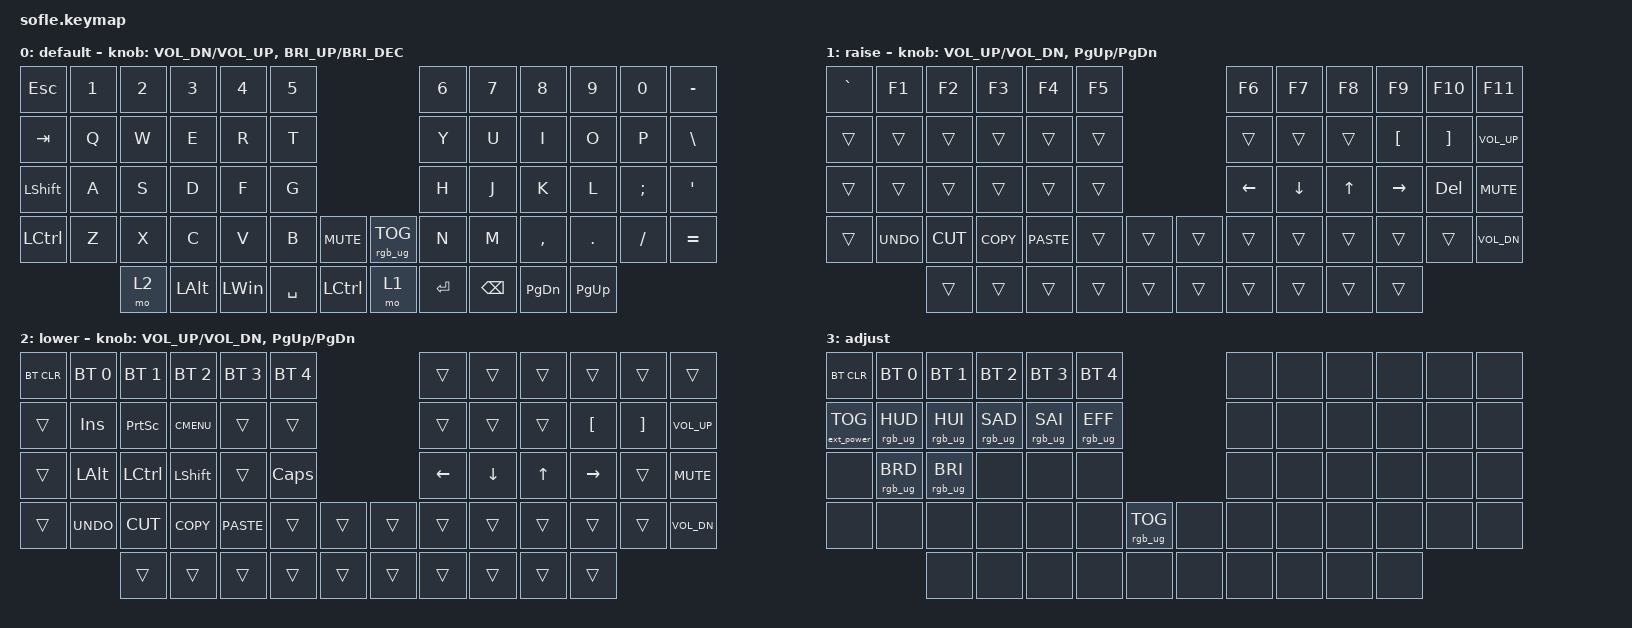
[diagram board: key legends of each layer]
/*
 * Copyright (c) 2020 The ZMK Contributors
 *
 * SPDX-License-Identifier: MIT
 */

#include <behaviors.dtsi>
#include <dt-bindings/zmk/bt.h>
#include <dt-bindings/zmk/ext_power.h>
#include <dt-bindings/zmk/keys.h>
#include <dt-bindings/zmk/rgb.h>

#define BASE 0
#define LOWER 1
#define RAISE 2
#define ADJUST 3

/ {
    // Activate ADJUST layer by pressing raise and lower

    conditional_layers {
        compatible = "zmk,conditional-layers";

        adjust_layer {
            if-layers = <1 2>;
            then-layer = <3>;
        };
    };

    keymap {
        compatible = "zmk,keymap";

        default_layer {
            label = "default";

            // ------------------------------------------------------------------------------------------------------------
            // |   `   |  1  |  2  |  3   |  4   |  5   |                   |  6   |  7    |  8    |  9   |   0   |       |
            // |  ESC  |  Q  |  W  |  E   |  R   |  T   |                   |  Y   |  U    |  I    |  O   |   P   | BKSPC |
            // |  TAB  |  A  |  S  |  D   |  F   |  G   |                   |  H   |  J    |  K    |  L   |   ;   |   '   |
            // | SHIFT |  Z  |  X  |  C   |  V   |  B   |  MUTE  |  |       |  N   |  M    |  ,    |  .   |   /   | SHIFT |
            //               | GUI | ALT  | CTRL | LOWER|  ENTER |  | SPACE | RAISE| CTRL  | ALT   | GUI  |

            bindings = <
&kp ESC           &kp N1  &kp N2  &kp N3    &kp N4        &kp N5                                          &kp N6     &kp N7         &kp N8         &kp N9       &kp N0    &kp MINUS
&kp TAB           &kp Q   &kp W   &kp E     &kp R         &kp T                                           &kp Y      &kp U          &kp I          &kp O        &kp P     &kp BACKSLASH
&kp LEFT_SHIFT    &kp A   &kp S   &kp D     &kp F         &kp G                                           &kp H      &kp J          &kp K          &kp L        &kp SEMI  &kp SQT
&kp LEFT_CONTROL  &kp Z   &kp X   &kp C     &kp V         &kp B      &kp C_MUTE          &rgb_ug RGB_TOG  &kp N      &kp M          &kp COMMA      &kp DOT      &kp FSLH  &kp EQUAL
                          &mo 2   &kp LALT  &kp LEFT_WIN  &kp SPACE  &kp LEFT_CONTROL    &mo 1            &kp ENTER  &kp BACKSPACE  &kp PAGE_DOWN  &kp PAGE_UP
            >;

            sensor-bindings =
                <&inc_dec_kp C_VOL_DN C_VOL_UP>,
                <&inc_dec_kp C_BRI_UP C_BRI_DEC>;
        };

        raise_layer {
            label = "raise";

            // ------------------------------------------------------------------------------------------------------------
            // | BTCLR | BT1  | BT2  |  BT3  |  BT4  |  BT5 |                |      |      |       |      |       |       |
            // |       | INS  | PSCR | GUI   |       |      |                | PGUP |      |   ^   |      |       |       |
            // |       | ALT  | CTRL | SHIFT |       | CAPS |                | PGDN |   <- |   v   |  ->  |  DEL  | BKSPC |
            // |       | UNDO | CUT  | COPY  | PASTE |      |      |  |      |      |      |       |      |       |       |
            //                |      |       |       |      |      |  |      |      |      |       |      |

            bindings = <
&kp GRAVE  &kp F1      &kp F2     &kp F3      &kp F4       &kp F5                    &kp F6          &kp F7          &kp F8        &kp F9            &kp F10            &kp F11
&trans     &trans      &trans     &trans      &trans       &trans                    &trans          &trans          &trans        &kp LEFT_BRACKET  &kp RIGHT_BRACKET  &kp C_VOLUME_UP
&trans     &trans      &trans     &trans      &trans       &trans                    &kp LEFT_ARROW  &kp DOWN_ARROW  &kp UP_ARROW  &kp RIGHT         &kp DEL            &kp K_MUTE
&trans     &kp K_UNDO  &kp K_CUT  &kp K_COPY  &kp K_PASTE  &trans  &trans    &trans  &trans          &trans          &trans        &trans            &trans             &kp C_VOL_DN
                       &trans     &trans      &trans       &trans  &trans    &trans  &trans          &trans          &trans        &trans
            >;

            sensor-bindings = <&inc_dec_kp C_VOL_UP C_VOL_DN &inc_dec_kp PG_UP PG_DN>;
        };

        layer_lower {
            label = "lower";
            bindings = <
&bt BT_CLR  &bt BT_SEL 0  &bt BT_SEL 1  &bt BT_SEL 2  &bt BT_SEL 3  &bt BT_SEL 4                    &trans          &trans          &trans        &trans            &trans             &trans
&trans      &kp INS       &kp PSCRN     &kp K_CMENU   &trans        &trans                          &trans          &trans          &trans        &kp LEFT_BRACKET  &kp RIGHT_BRACKET  &kp C_VOLUME_UP
&trans      &kp LALT      &kp LCTRL     &kp LSHFT     &trans        &kp CLCK                        &kp LEFT_ARROW  &kp DOWN_ARROW  &kp UP_ARROW  &kp RIGHT         &trans             &kp K_MUTE
&trans      &kp K_UNDO    &kp K_CUT     &kp K_COPY    &kp K_PASTE   &trans        &trans    &trans  &trans          &trans          &trans        &trans            &trans             &kp C_VOL_DN
                          &trans        &trans        &trans        &trans        &trans    &trans  &trans          &trans          &trans        &trans
            >;

            sensor-bindings =
                <&inc_dec_kp C_VOL_UP C_VOL_DN>,
                <&inc_dec_kp PG_UP PG_DN>;
        };

        adjust_layer {
            // ----------------------------------------------------------------------------------------------------------------------------
            // | BTCLR  |  BT1    |  BT2    |   BT3   |   BT4   |   BT5   |                  |      |      |       |      |       |       |
            // | EXTPWR | RGB_HUD | RGB_HUI | RGB_SAD | RGB_SAI | RGB_EFF |                  |      |      |       |      |       |       |
            // |        | RGB_BRD | RGB_BRI |         |         |         |                  |      |      |       |      |       |       |
            // |        |         |         |         |         |         | RGB_TOG | |      |      |      |       |      |       |       |
            //                    |         |         |         |         |         | |      |      |      |       |      |

            label = "adjust";
            bindings = <
&bt BT_CLR         &bt BT_SEL 0     &bt BT_SEL 1     &bt BT_SEL 2     &bt BT_SEL 3     &bt BT_SEL 4                               &none  &none  &none  &none  &none  &none
&ext_power EP_TOG  &rgb_ug RGB_HUD  &rgb_ug RGB_HUI  &rgb_ug RGB_SAD  &rgb_ug RGB_SAI  &rgb_ug RGB_EFF                            &none  &none  &none  &none  &none  &none
&none              &rgb_ug RGB_BRD  &rgb_ug RGB_BRI  &none            &none            &none                                      &none  &none  &none  &none  &none  &none
&none              &none            &none            &none            &none            &none            &rgb_ug RGB_TOG    &none  &none  &none  &none  &none  &none  &none
                                    &none            &none            &none            &none            &none              &none  &none  &none  &none  &none
            >;
        };
    };
};
